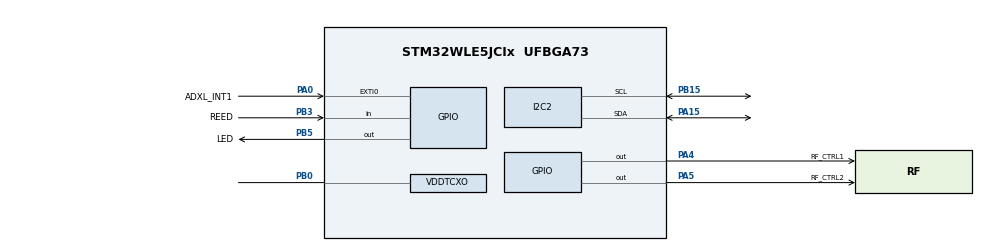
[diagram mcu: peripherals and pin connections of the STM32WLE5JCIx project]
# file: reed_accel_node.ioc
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ADC.LowPowerAutoPowerOff=ENABLE
ADC.LowPowerAutoWait=ENABLE
ADC.NbrOfConversion=1
ADC.SamplingTimeCommon1=ADC_SAMPLETIME_79CYCLES_5
ADC.SamplingTimeCommon2=ADC_SAMPLETIME_79CYCLES_5
ADC.SelectedChannel=ADC_CHANNEL_VREFINT
I2C2.Timing=0x10805D88
Mcu.Family=STM32WL
Mcu.Name=STM32WLE5JCIx
Mcu.Package=UFBGA73
NVIC.EXTI0_IRQn=true\:0\:0\:false\:false\:true\:true\:true\:true
NVIC.PVD_PVM_IRQn=true\:0\:0\:false\:false\:true\:true\:true\:true
NVIC.PriorityGroup=NVIC_PRIORITYGROUP_4
NVIC.SUBGHZ_Radio_IRQn=true\:0\:0\:false\:false\:true\:true\:true\:true
NVIC.TIM17_IRQn=true\:15\:0\:false\:false\:true\:false\:true\:true
NVIC.TimeBase=TIM17_IRQn
NVIC.TimeBaseIP=TIM17
OSC_IN.Mode=HSE-TCXO
OSC_IN.Signal=RCC_OSC_IN
PA0.GPIO_Label=ADXL_INT1
PA0.GPIO_PuPd=GPIO_PULLDOWN
PA0.Signal=GPXTI0
PA15.Mode=I2C
PA15.Signal=I2C2_SDA
PA4.GPIO_Label=RF_CTRL1
PA4.Signal=GPIO_Output
PA5.GPIO_Label=RF_CTRL2
PA5.Signal=GPIO_Output
PB0-VDD_TCXO.Mode=HSE-TCXO
PB0-VDD_TCXO.Signal=VDDTCXO
PB15.Mode=I2C
PB15.Signal=I2C2_SCL
PB3.GPIO_Label=REED
PB3.GPIO_PuPd=GPIO_PULLUP
PB3.Signal=GPIO_Input
PB5.GPIO_Label=LED
PB5.PinState=GPIO_PIN_SET
PB5.Signal=GPIO_Output
PB6.Signal=USART1_TX
PB7.Signal=USART1_RX
PC14-OSC32_IN.Mode=LSE-External-Oscillator
PC14-OSC32_IN.Signal=RCC_OSC32_IN
PC15-OSC32_OUT.Mode=LSE-External-Oscillator
PC15-OSC32_OUT.Signal=RCC_OSC32_OUT
ProjectManager.HeapSize=0x200
ProjectManager.StackSize=0x400
ProjectManager.TargetToolchain=STM32CubeIDE
RCC.AHBFreq_Value=48000000
RCC.APB1Freq_Value=48000000
RCC.APB1TimFreq_Value=48000000
RCC.APB2Freq_Value=48000000
RCC.APB2TimFreq_Value=48000000
RCC.APB3Freq_Value=48000000
RCC.CortexFreq_Value=48000000
RCC.HCLKFreq_Value=48000000
RCC.HSE_VALUE=32000000
RCC.HSI_VALUE=16000000
RCC.LSE_VALUE=32768
RCC.PLLN=24
RCC.RTCClockSelection=RCC_RTCCLKSOURCE_LSE
RCC.SYSCLKFreq_VALUE=48000000
RCC.SYSCLKSource=RCC_SYSCLKSOURCE_PLLCLK
RCC.VCOOutputFreq_Value=96000000
RTC.Alarm-Alarm\ A=RTC_ALARM_A
RTC.AsynchPrediv=31
RTC.BinMode=RTC_BINARY_ONLY
RTC.BinaryAutoClr_A-Alarm\ A=RTC_ALARMSUBSECONDBIN_AUTOCLR_NO
SUBGHZ_PHY.USE_LPM=true
SUBGHZ_PHY.USE_RTC=true
SUBGHZ_PHY.USE_UART=false
SubGHz_Phy.BSP.number=1
SubGHz_Phy0.BSP.STBoard=false
SubGHz_Phy0.BSP.api=Unknown
SubGHz_Phy0.BSP.condition=\!SEM_SUBGHZ_USER_APPLICATION | SEM_SUBGHZ_USE_RTC
SubGHz_Phy0.BSP.instance=RTC
SubGHz_Phy0.BSP.ip=RTC
SubGHz_Phy0.BSP.mode=RTC Enabled
SubGHz_Phy0.BSP.name=RTC
SubGHz_Phy0.BSP.solution=RTC
VP_ADC_Vref_Input.Mode=IN-Vrefint
VP_ADV_TRACE_VS_ADV_TRACE.Mode=ADV_TRACE_Enabled
VP_MISC_VS_MISC.Mode=MISC_Enabled
VP_RTC_VS_RTC_Activate.Mode=RTC_Enabled
VP_RTC_VS_RTC_Alarm_A_Intern.Mode=Alarm A
VP_RTC_VS_RTC_Calendar.Mode=RTC_Calendar
VP_SEQUENCER_VS_SEQUENCER.Mode=SEQUENCER_Enabled
VP_SUBGHZ_PHY_VS_SubGhzPhy.Mode=SubGhzPhy_Enabled
VP_SUBGHZ_VS_SUBGHZ.Mode=SUBGHZ_Activate
VP_SYS_VS_tim17.Mode=TIM17
VP_TIMER_VS_TIMER.Mode=TIMER_Enabled
VP_TINY_LPM_VS_TINY_LPM.Mode=TINY_LPM_Enabled
board=custom

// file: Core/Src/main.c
/* USER CODE BEGIN Header */
/**
 ******************************************************************************
 * @file           : main.c
 * @brief          : Main program body
 ******************************************************************************
 * @attention
 *
 * Copyright (c) 2026 STMicroelectronics.
 * All rights reserved.
 *
 * This software is licensed under terms that can be found in the LICENSE file
 * in the root directory of this software component.
 * If no LICENSE file comes with this software, it is provided AS-IS.
 *
 ******************************************************************************
 */
/* USER CODE END Header */
#include "main.h"
#include "adc.h"
#include "i2c.h"
#include "rtc.h"
#include "app_subghz_phy.h"
#include "gpio.h"

/* USER CODE BEGIN Includes */
#include <stdbool.h>
#include "adxl345.h"
#include "power_monitor.h"
#include "reed_sensor.h"
#include "utilities_def.h"
/* USER CODE END Includes */

/* USER CODE BEGIN PV */
LoriotaWakeReason_t loriota_wake_reason = LORIOTA_WAKE_BOOT;
bool loriota_rtc_preserved = false;
static bool loriota_woke_from_rtc = false;
static bool loriota_was_shutdown = false;

/* USER CODE END PV */

void SystemClock_Config(void);
/* USER CODE BEGIN PFP */
static void DetermineWakeReason(void);
/* USER CODE END PFP */

/* USER CODE BEGIN 0 */
static void DetermineWakeReason(void) {
	if (!loriota_rtc_preserved) {
		return;
	}

	uint32_t saved_stage = HAL_RTCEx_BKUPRead(&hrtc, RTC_BKP_DR18);
	bool reed_changed = ReedChangedSinceLastTx();
	bool accel_active = (HAL_GPIO_ReadPin(
	ADXL_INT1_GPIO_Port, ADXL_INT1_Pin) == GPIO_PIN_SET);

	if (reed_changed) {
		loriota_wake_reason = LORIOTA_WAKE_REED;
	} else if (loriota_woke_from_rtc) {
		if (saved_stage == LORIOTA_STAGE_COOLDOWN) {
			loriota_wake_reason = LORIOTA_WAKE_COOLDOWN_END;
		} else {
			loriota_wake_reason = LORIOTA_WAKE_PERIODIC;
		}
	} else if (saved_stage == LORIOTA_STAGE_PERIODIC && GetReedState() == 0U
			&& accel_active) {
		loriota_wake_reason = LORIOTA_WAKE_ACCEL;
	} else {
		loriota_wake_reason = LORIOTA_WAKE_BOOT;
	}
}

/* USER CODE END 0 */

/* USER CODE END 0 */

int main(void) {

	/* MCU Configuration--------------------------------------------------------*/

	/* Reset of all peripherals, Initializes the Flash interface and the Systick. */
	HAL_Init();

	/* Configure the system clock */
	SystemClock_Config();

	/* USER CODE BEGIN SysInit */
	hrtc.Instance = RTC;
	__HAL_RCC_RTCAPB_CLK_ENABLE();

	uint32_t shutdown_marker = HAL_RTCEx_BKUPRead(&hrtc, RTC_BKP_DR16);

	loriota_was_shutdown = (shutdown_marker == LORIOTA_SHUTDOWN_ARMED);

	uint32_t backup_signature = HAL_RTCEx_BKUPRead(&hrtc, RTC_BKP_DR17);

	loriota_rtc_preserved =
			(backup_signature == LORIOTA_BACKUP_STATE_SIGNATURE);

	loriota_woke_from_rtc = loriota_rtc_preserved
			&& (__HAL_RTC_WAKEUPTIMER_GET_FLAG(
					&hrtc, RTC_FLAG_WUTF) != RESET);
	/* USER CODE END SysInit */

	/* Initialize all configured peripherals */
	MX_GPIO_Init();
	MX_RTC_Init();
	MX_SubGHz_Phy_Init();
	MX_I2C2_Init();
	MX_ADC_Init();
	/* USER CODE BEGIN 2 */
	PowerMonitor_Init();
	HAL_PWR_EnableBkUpAccess();

	HAL_RTCEx_BKUPWrite(&hrtc,
	RTC_BKP_DR16, 0UL);

	DetermineWakeReason();
	if (HAL_RTCEx_DeactivateWakeUpTimer(&hrtc) != HAL_OK) {
		Error_Handler();
	}

	HAL_NVIC_ClearPendingIRQ(RTC_WKUP_IRQn);
	HAL_NVIC_SetPriority(RTC_WKUP_IRQn, 1, 0);
	HAL_NVIC_EnableIRQ(RTC_WKUP_IRQn);

	ADXL345_Initialize();

	/* USER CODE END 2 */

	/* Infinite loop */
	while (1) {
		MX_SubGHz_Phy_Process();

	}
}

void SystemClock_Config(void) {
	RCC_OscInitTypeDef RCC_OscInitStruct = { 0 };
	RCC_ClkInitTypeDef RCC_ClkInitStruct = { 0 };

	/** Configure LSE Drive Capability
	 */
	HAL_PWR_EnableBkUpAccess();
	__HAL_RCC_LSEDRIVE_CONFIG(RCC_LSEDRIVE_LOW);

	/** Configure the main internal regulator output voltage
	 */
	__HAL_PWR_VOLTAGESCALING_CONFIG(PWR_REGULATOR_VOLTAGE_SCALE1);

	/** Initializes the CPU, AHB and APB buses clocks
	 */
	RCC_OscInitStruct.OscillatorType = RCC_OSCILLATORTYPE_LSE
			| RCC_OSCILLATORTYPE_MSI;
	RCC_OscInitStruct.LSEState = RCC_LSE_ON;
	RCC_OscInitStruct.MSIState = RCC_MSI_ON;
	RCC_OscInitStruct.MSICalibrationValue = RCC_MSICALIBRATION_DEFAULT;
	RCC_OscInitStruct.MSIClockRange = RCC_MSIRANGE_6;
	RCC_OscInitStruct.PLL.PLLState = RCC_PLL_ON;
	RCC_OscInitStruct.PLL.PLLSource = RCC_PLLSOURCE_MSI;
	RCC_OscInitStruct.PLL.PLLM = RCC_PLLM_DIV1;
	RCC_OscInitStruct.PLL.PLLN = 24;
	RCC_OscInitStruct.PLL.PLLP = RCC_PLLP_DIV2;
	RCC_OscInitStruct.PLL.PLLR = RCC_PLLR_DIV2;
	RCC_OscInitStruct.PLL.PLLQ = RCC_PLLQ_DIV2;
	if (HAL_RCC_OscConfig(&RCC_OscInitStruct) != HAL_OK) {
		Error_Handler();
	}

	/** Configure the SYSCLKSource, HCLK, PCLK1 and PCLK2 clocks dividers
	 */
	RCC_ClkInitStruct.ClockType = RCC_CLOCKTYPE_HCLK3 | RCC_CLOCKTYPE_HCLK
			| RCC_CLOCKTYPE_SYSCLK | RCC_CLOCKTYPE_PCLK1 | RCC_CLOCKTYPE_PCLK2;
	RCC_ClkInitStruct.SYSCLKSource = RCC_SYSCLKSOURCE_PLLCLK;
	RCC_ClkInitStruct.AHBCLKDivider = RCC_SYSCLK_DIV1;
	RCC_ClkInitStruct.APB1CLKDivider = RCC_HCLK_DIV1;
	RCC_ClkInitStruct.APB2CLKDivider = RCC_HCLK_DIV1;
	RCC_ClkInitStruct.AHBCLK3Divider = RCC_SYSCLK_DIV1;

	if (HAL_RCC_ClockConfig(&RCC_ClkInitStruct, FLASH_LATENCY_2) != HAL_OK) {
		Error_Handler();
	}
}

void HAL_TIM_PeriodElapsedCallback(TIM_HandleTypeDef *htim) {
	if (htim->Instance == TIM17) {
		HAL_IncTick();
	}
}

void Error_Handler(void) {
	__disable_irq();
	while (1) {
	}
}
